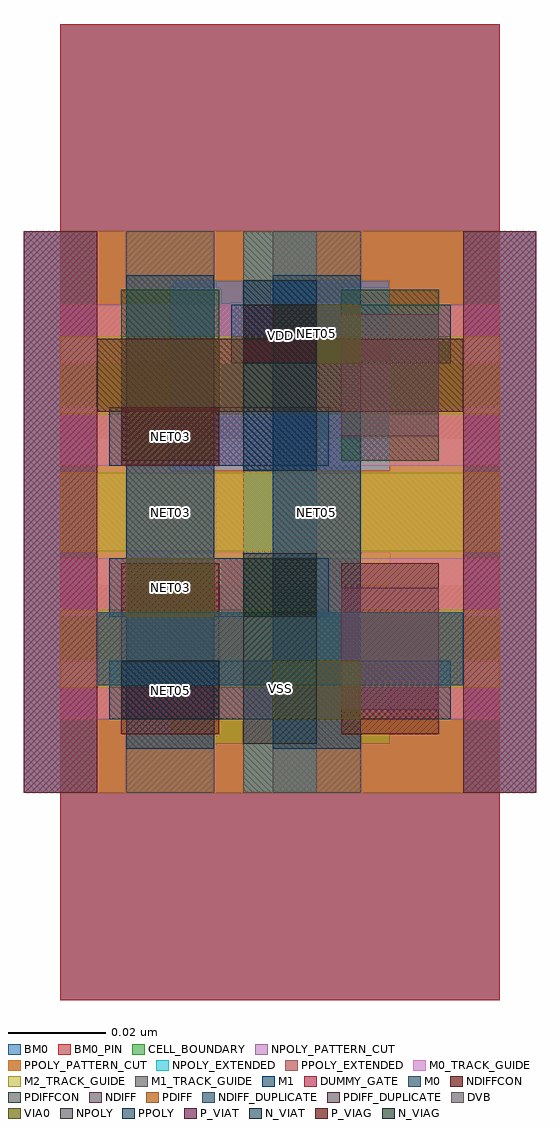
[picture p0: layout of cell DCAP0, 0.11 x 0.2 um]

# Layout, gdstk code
import gdstk
lib = gdstk.Library(unit=1e-6, precision=5e-11)
def R(c, l, rs):  # rectangles x0, y0, x1, y1
    for r in rs: c.add(gdstk.rectangle(r[:2], r[2:], *l))
def A(c, l, x, y, w, h, nx, ny, dx, dy):  # array of equal rectangles
    R(c, l, [(x+i*dx, y+j*dy, x+i*dx+w, y+j*dy+h) for i in range(nx) for j in range(ny)])
CELL_BOUNDARY = (1, 0)
NDIFF = (100, 0)
NDIFF_DUPLICATE = (100, 1)
PDIFF = (101, 0)
PDIFF_DUPLICATE = (101, 1)
NPOLY = (102, 0)
NPOLY_EXTENDED = (102, 1)
NPOLY_PATTERN_CUT = (102, 2)
PPOLY = (103, 0)
PPOLY_EXTENDED = (103, 1)
PPOLY_PATTERN_CUT = (103, 2)
NDIFFCON = (104, 0)
PDIFFCON = (105, 0)
P_VIAG = (106, 0)
N_VIAG = (107, 0)
P_VIAT = (108, 0)
N_VIAT = (109, 0)
DVB = (111, 0)
DUMMY_GATE = (121, 0)
M0 = (200, 0)
VIA0 = (201, 0)
M1 = (202, 0)
M0_TRACK_GUIDE = (220, 0)
M1_TRACK_GUIDE = (221, 0)
M2_TRACK_GUIDE = (222, 0)
BM0 = (300, 0)
BM0_PIN = (300, 2)

dcap0 = lib.new_cell('DCAP0')
R(dcap0, CELL_BOUNDARY, [(0,0,0.09,0.115)])
R(dcap0, NDIFF, [(0.0075,0.022,0.0825,0.037)])
R(dcap0, NDIFF_DUPLICATE, [(0.0075,0.022,0.0825,0.037)])
R(dcap0, PDIFF, [(0.0075,0.078,0.0825,0.093)])
R(dcap0, PDIFF_DUPLICATE, [(0.0075,0.078,0.0825,0.093)])
R(dcap0, NPOLY, [(0.0375,0.01,0.0525,0.049)])
A(dcap0, NPOLY_EXTENDED, -0.0075, 0, 0.015, 0.115, 3, 1, 0.045, 0)
R(dcap0, NPOLY_PATTERN_CUT, [(0,0,0.0225,0.115), (0.0225,0,0.0675,0.01), (0.0675,0,0.09,0.115), (0.0225,0.049,0.0675,0.115)])
R(dcap0, PPOLY, [(0.0375,0.066,0.0525,0.105)])
A(dcap0, PPOLY_EXTENDED, -0.0075, 0, 0.015, 0.115, 3, 1, 0.045, 0)
R(dcap0, PPOLY_PATTERN_CUT, [(0,0,0.0225,0.115), (0.0225,0,0.0675,0.066), (0.0675,0,0.09,0.115), (0.0225,0.105,0.0675,0.115)])
R(dcap0, NDIFFCON, [(0.0125,0.012,0.0325,0.047), (0.0575,0.012,0.0775,0.047)])
R(dcap0, PDIFFCON, [(0.0125,0.068,0.0325,0.103), (0.0575,0.068,0.0775,0.103)])
R(dcap0, P_VIAG, [(0.0375,0.088,0.0525,0.1)])
R(dcap0, N_VIAG, [(0.0375,0.036,0.0525,0.048)])
R(dcap0, P_VIAT, [(0.0125,0.067,0.0325,0.079)])
R(dcap0, N_VIAT, [(0.0125,0.015,0.0325,0.027)])
R(dcap0, DVB, [(0.0575,0.017,0.0775,0.042), (0.0575,0.073,0.0775,0.098)])
R(dcap0, DUMMY_GATE, [(-0.0075,0,0.0075,0.115), (0.0825,0,0.0975,0.115)])
R(dcap0, M0, [(0.01,0.015,0.08,0.027), (0.01,0.036,0.055,0.048), (0.01,0.067,0.055,0.079), (0.035,0.088,0.08,0.1)])
R(dcap0, VIA0, [(0.0435,0.015,0.0615,0.027), (0.0135,0.036,0.0315,0.048), (0.0135,0.067,0.0315,0.079), (0.0435,0.088,0.0615,0.1)])
R(dcap0, M1, [(0.0135,0.009,0.0315,0.106), (0.0435,0.009,0.0615,0.106)])
R(dcap0, M0_TRACK_GUIDE, [(0,0.015,0.09,0.027), (0,0.036,0.09,0.048), (0,0.067,0.09,0.079), (0,0.088,0.09,0.1)])
R(dcap0, M1_TRACK_GUIDE, [(0.0135,0,0.0315,0.115), (0.0435,0,0.0615,0.115)])
A(dcap0, M2_TRACK_GUIDE, 0, 0.0215, 0.09, 0.016, 1, 3, 0, 0.028)
R(dcap0, BM0, [(0,-0.0425,0.09,0.0425), (0,0.0725,0.09,0.1575)])
R(dcap0, BM0_PIN, [(0,-0.0425,0.09,0.0425), (0,0.0725,0.09,0.1575)])
dcap0.add(gdstk.Label('VSS', (0.045,0.0213), layer=300, texttype=1))
dcap0.add(gdstk.Label('VDD', (0.045,0.0938), layer=300, texttype=1))
dcap0.add(gdstk.Label('NET05', (0.0525,0.094), layer=200, texttype=1))
dcap0.add(gdstk.Label('NET03', (0.0225,0.073), layer=200, texttype=1))
dcap0.add(gdstk.Label('NET03', (0.0225,0.042), layer=200, texttype=1))
dcap0.add(gdstk.Label('NET05', (0.0225,0.021), layer=200, texttype=1))
dcap0.add(gdstk.Label('NET03', (0.0225,0.0575), layer=202, texttype=1))
dcap0.add(gdstk.Label('NET05', (0.0525,0.0575), layer=202, texttype=1))
dcap0.add(gdstk.Label('VSS', (0.045,0.0213), layer=300, texttype=3))
dcap0.add(gdstk.Label('VDD', (0.045,0.0938), layer=300, texttype=3))

lib.write_gds('DCAP0.gds')
